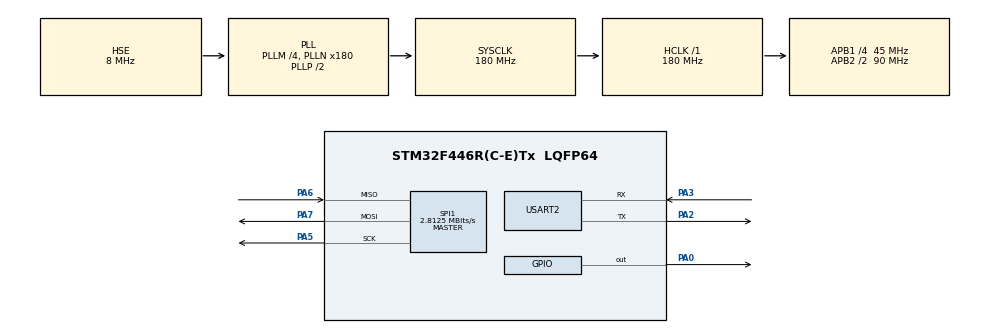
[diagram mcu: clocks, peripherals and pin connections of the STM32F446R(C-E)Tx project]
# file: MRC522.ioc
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Mcu.Family=STM32F4
Mcu.Name=STM32F446R(C-E)Tx
Mcu.Package=LQFP64
NVIC.PriorityGroup=NVIC_PRIORITYGROUP_4
PA0-WKUP.GPIO_Speed=GPIO_SPEED_FREQ_HIGH
PA0-WKUP.PinState=GPIO_PIN_SET
PA0-WKUP.Signal=GPIO_Output
PA13.Mode=Serial_Wire
PA13.Signal=SYS_JTMS-SWDIO
PA14.Mode=Serial_Wire
PA14.Signal=SYS_JTCK-SWCLK
PA2.Mode=Asynchronous
PA2.Signal=USART2_TX
PA3.Mode=Asynchronous
PA3.Signal=USART2_RX
PA5.Mode=Full_Duplex_Master
PA5.Signal=SPI1_SCK
PA6.Mode=Full_Duplex_Master
PA6.Signal=SPI1_MISO
PA7.Mode=Full_Duplex_Master
PA7.Signal=SPI1_MOSI
PH0-OSC_IN.Mode=HSE-External-Oscillator
PH0-OSC_IN.Signal=RCC_OSC_IN
PH1-OSC_OUT.Mode=HSE-External-Oscillator
PH1-OSC_OUT.Signal=RCC_OSC_OUT
ProjectManager.HeapSize=0x200
ProjectManager.StackSize=0x400
ProjectManager.TargetToolchain=STM32CubeIDE
RCC.AHBFreq_Value=180000000
RCC.APB1CLKDivider=RCC_HCLK_DIV4
RCC.APB1Freq_Value=45000000
RCC.APB1TimFreq_Value=90000000
RCC.APB2CLKDivider=RCC_HCLK_DIV2
RCC.APB2Freq_Value=90000000
RCC.APB2TimFreq_Value=180000000
RCC.CortexFreq_Value=180000000
RCC.HCLKFreq_Value=180000000
RCC.HSE_VALUE=8000000
RCC.PLLM=4
RCC.PLLN=180
RCC.PLLSourceVirtual=RCC_PLLSOURCE_HSE
RCC.SYSCLKFreq_VALUE=180000000
RCC.SYSCLKSource=RCC_SYSCLKSOURCE_PLLCLK
RCC.USBFreq_Value=180000000
RCC.VCOOutputFreq_Value=360000000
SPI1.BaudRatePrescaler=SPI_BAUDRATEPRESCALER_32
SPI1.CalculateBaudRate=2.8125 MBits/s
SPI1.Direction=SPI_DIRECTION_2LINES
SPI1.Mode=SPI_MODE_MASTER
SPI1.VirtualType=VM_MASTER
USART2.VirtualMode=VM_ASYNC
board=custom

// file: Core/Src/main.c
/* USER CODE BEGIN Header */
/**
 ******************************************************************************
 * @file           : main.c
 * @brief          : Main program body
 ******************************************************************************
 * @attention
 *
 * Copyright (c) 2023 STMicroelectronics.
 * All rights reserved.
 *
 * This software is licensed under terms that can be found in the LICENSE file
 * in the root directory of this software component.
 * If no LICENSE file comes with this software, it is provided AS-IS.
 *
 ******************************************************************************
 */
/* USER CODE END Header */
#include "main.h"

/* USER CODE BEGIN Includes */
#include "drv_mfrc522.h"

#include <stdio.h>
#include <string.h>
/* USER CODE END Includes */

SPI_HandleTypeDef hspi1;

UART_HandleTypeDef huart2;

void        SystemClock_Config(void);
static void MX_GPIO_Init(void);
static void MX_SPI1_Init(void);
static void MX_USART2_UART_Init(void);

/* USER CODE BEGIN 0 */
uint8_t              data[15];
char                 TX[50];
drv_mfrc522_info_t   mfrc522;
drv_mfrc522_config_t drv_mfrc522;
uint8_t              status;
uint8_t              sector_key[6];
uint8_t              card_data[16];
uint8_t              UID[5];
uint8_t              receive_data[50];
/* USER CODE END 0 */

int main(void)
{

  /* MCU Configuration--------------------------------------------------------*/

  /* Reset of all peripherals, Initializes the Flash interface and the Systick. */
  HAL_Init();

  /* Configure the system clock */
  SystemClock_Config();

  /* Initialize all configured peripherals */
  MX_GPIO_Init();
  MX_SPI1_Init();
  MX_USART2_UART_Init();
  /* USER CODE BEGIN 2 */

  drv_mfrc522.drv_mfrc522_spi     = &hspi1;
  drv_mfrc522.drv_mfrc522_id      = 1;
  drv_mfrc522.drv_mfrc522_cs_port = GPIOA;
  drv_mfrc522.drv_mfrc522_cs_pin  = GPIO_PIN_0;

  sprintf(TX, "Status Config: %d\r\n", drv_mfrc522_init(&drv_mfrc522));
  HAL_UART_Transmit(&huart2, (uint8_t *) TX, strlen(TX), 100);

  for (uint8_t i = 0; i < 16; i++) card_data[i] = i;

  /* USER CODE END 2 */

  /* Infinite loop */
  while (1)
  {

    /* USER CODE BEGIN 3 */

    status = drv_mfrc522_write_address(drv_mfrc522, 4, card_data);

    if (status == drv_mfrc522_success)
    {
      HAL_UART_Transmit(&huart2, (uint8_t *) "Write OK\r\n", 10, 100);
    }
    else
    {
      HAL_UART_Transmit(&huart2, (uint8_t *) "Write Er\r\n", 10, 100);
    }

    HAL_Delay(2000);
  }
  /* USER CODE END 3 */
}

void SystemClock_Config(void)
{
  RCC_OscInitTypeDef RCC_OscInitStruct = { 0 };
  RCC_ClkInitTypeDef RCC_ClkInitStruct = { 0 };

  /** Configure the main internal regulator output voltage
   */
  __HAL_RCC_PWR_CLK_ENABLE();
  __HAL_PWR_VOLTAGESCALING_CONFIG(PWR_REGULATOR_VOLTAGE_SCALE1);

  /** Initializes the RCC Oscillators according to the specified parameters
   * in the RCC_OscInitTypeDef structure.
   */
  RCC_OscInitStruct.OscillatorType = RCC_OSCILLATORTYPE_HSE;
  RCC_OscInitStruct.HSEState       = RCC_HSE_ON;
  RCC_OscInitStruct.PLL.PLLState   = RCC_PLL_ON;
  RCC_OscInitStruct.PLL.PLLSource  = RCC_PLLSOURCE_HSE;
  RCC_OscInitStruct.PLL.PLLM       = 4;
  RCC_OscInitStruct.PLL.PLLN       = 180;
  RCC_OscInitStruct.PLL.PLLP       = RCC_PLLP_DIV2;
  RCC_OscInitStruct.PLL.PLLQ       = 2;
  RCC_OscInitStruct.PLL.PLLR       = 2;
  if (HAL_RCC_OscConfig(&RCC_OscInitStruct) != HAL_OK)
  {
    Error_Handler();
  }

  /** Activate the Over-Drive mode
   */
  if (HAL_PWREx_EnableOverDrive() != HAL_OK)
  {
    Error_Handler();
  }

  /** Initializes the CPU, AHB and APB buses clocks
   */
  RCC_ClkInitStruct.ClockType      = RCC_CLOCKTYPE_HCLK | RCC_CLOCKTYPE_SYSCLK | RCC_CLOCKTYPE_PCLK1 | RCC_CLOCKTYPE_PCLK2;
  RCC_ClkInitStruct.SYSCLKSource   = RCC_SYSCLKSOURCE_PLLCLK;
  RCC_ClkInitStruct.AHBCLKDivider  = RCC_SYSCLK_DIV1;
  RCC_ClkInitStruct.APB1CLKDivider = RCC_HCLK_DIV4;
  RCC_ClkInitStruct.APB2CLKDivider = RCC_HCLK_DIV2;

  if (HAL_RCC_ClockConfig(&RCC_ClkInitStruct, FLASH_LATENCY_5) != HAL_OK)
  {
    Error_Handler();
  }
}

static void MX_SPI1_Init(void)
{

  /* SPI1 parameter configuration*/
  hspi1.Instance               = SPI1;
  hspi1.Init.Mode              = SPI_MODE_MASTER;
  hspi1.Init.Direction         = SPI_DIRECTION_2LINES;
  hspi1.Init.DataSize          = SPI_DATASIZE_8BIT;
  hspi1.Init.CLKPolarity       = SPI_POLARITY_LOW;
  hspi1.Init.CLKPhase          = SPI_PHASE_1EDGE;
  hspi1.Init.NSS               = SPI_NSS_SOFT;
  hspi1.Init.BaudRatePrescaler = SPI_BAUDRATEPRESCALER_32;
  hspi1.Init.FirstBit          = SPI_FIRSTBIT_MSB;
  hspi1.Init.TIMode            = SPI_TIMODE_DISABLE;
  hspi1.Init.CRCCalculation    = SPI_CRCCALCULATION_DISABLE;
  hspi1.Init.CRCPolynomial     = 10;
  if (HAL_SPI_Init(&hspi1) != HAL_OK)
  {
    Error_Handler();
  }
}

static void MX_USART2_UART_Init(void)
{

  huart2.Instance          = USART2;
  huart2.Init.BaudRate     = 115200;
  huart2.Init.WordLength   = UART_WORDLENGTH_8B;
  huart2.Init.StopBits     = UART_STOPBITS_1;
  huart2.Init.Parity       = UART_PARITY_NONE;
  huart2.Init.Mode         = UART_MODE_TX_RX;
  huart2.Init.HwFlowCtl    = UART_HWCONTROL_NONE;
  huart2.Init.OverSampling = UART_OVERSAMPLING_16;
  if (HAL_UART_Init(&huart2) != HAL_OK)
  {
    Error_Handler();
  }
}

static void MX_GPIO_Init(void)
{
  GPIO_InitTypeDef GPIO_InitStruct = { 0 };

  /* GPIO Ports Clock Enable */
  __HAL_RCC_GPIOH_CLK_ENABLE();
  __HAL_RCC_GPIOA_CLK_ENABLE();

  /*Configure GPIO pin Output Level */
  HAL_GPIO_WritePin(GPIOA, GPIO_PIN_0, GPIO_PIN_SET);

  /*Configure GPIO pin : PA0 */
  GPIO_InitStruct.Pin   = GPIO_PIN_0;
  GPIO_InitStruct.Mode  = GPIO_MODE_OUTPUT_PP;
  GPIO_InitStruct.Pull  = GPIO_NOPULL;
  GPIO_InitStruct.Speed = GPIO_SPEED_FREQ_HIGH;
  HAL_GPIO_Init(GPIOA, &GPIO_InitStruct);
}

void Error_Handler(void)
{
  __disable_irq();
  while (1)
  {
  }
}
